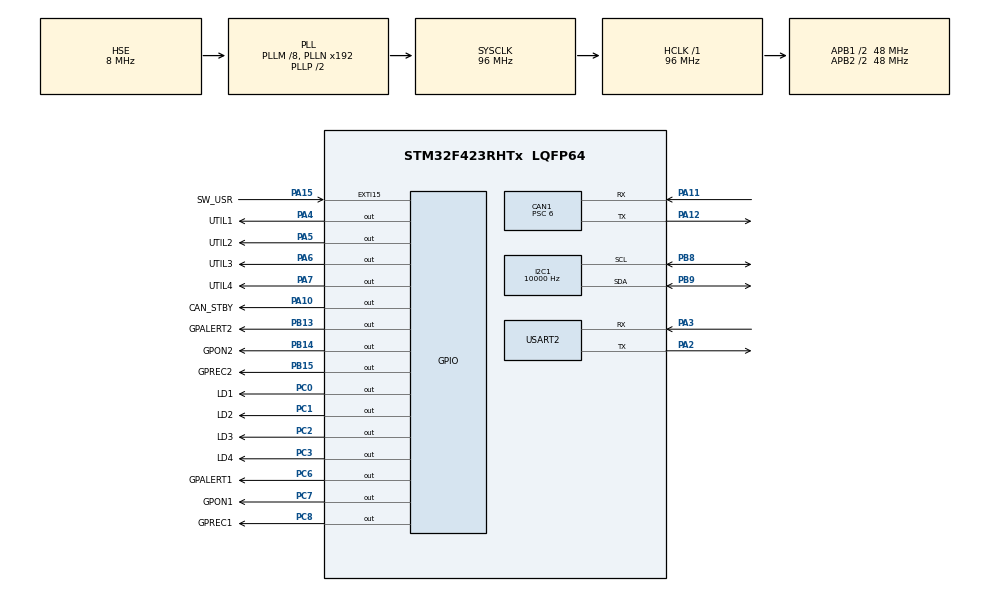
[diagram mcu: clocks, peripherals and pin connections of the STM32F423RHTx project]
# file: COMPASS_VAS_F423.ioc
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Mcu.Family=STM32F4
RCC.CortexFreq_Value=96000000
NVIC.TIM6_DAC_IRQn=true\:0\:0\:false\:false\:true\:true\:true
PA10.GPIO_PuPd=GPIO_PULLDOWN
PB14.GPIO_Label=GPON2
PC0.GPIO_Label=LD1
PC6.GPIO_Label=GPALERT1
PA11.Mode=CAN_Activate
PA6.GPIO_Label=UTIL3
PB13.GPIO_Label=GPALERT2
PB13.Signal=GPIO_Output
PB15.Signal=GPIO_Output
RCC.SYSCLKSource=RCC_SYSCLKSOURCE_PLLCLK
ProjectManager.StackSize=0x400
PA15.GPIO_Label=SW_USR
PA12.Signal=CAN1_TX
PH0\ -\ OSC_IN.Signal=RCC_OSC_IN
I2C1.ClockSpeed=10000
RCC.HCLKFreq_Value=96000000
RCC.APB2TimFreq_Value=96000000
PC7.Signal=GPIO_Output
PC3.Signal=GPIO_Output
RCC.AHBFreq_Value=96000000
RCC.HSE_VALUE=8000000
PB3.Mode=Trace_Asynchronous_SW
PA14.Mode=Trace_Asynchronous_SW
PA10.GPIO_Label=CAN_STBY
TIM6.Period=1000 -1
CAN1.Prescaler=6
Mcu.Package=LQFP64
PB9.Signal=I2C1_SDA
PA6.Signal=GPIO_Output
USART2.VirtualMode=VM_ASYNC
PA10.Signal=GPIO_Output
PA15.Signal=GPXTI15
RCC.APB2CLKDivider=RCC_HCLK_DIV2
RCC.APB1TimFreq_Value=96000000
CAN1.CalculateTimeBit=1000.00
PA4.GPIO_Label=UTIL1
PC2.GPIO_Label=LD3
PA3.Signal=USART2_RX
CAN1.CalculateTimeQuantum=125.0
RCC.PLLSourceVirtual=RCC_PLLSOURCE_HSE
CAN1.CalculateBaudRate=1000000
PH1\ -\ OSC_OUT.Mode=HSE-External-Oscillator
PC8.Signal=GPIO_Output
TIM6.Prescaler=96 -1
PC2.Signal=GPIO_Output
PC6.Signal=GPIO_Output
VP_TIM6_VS_ClockSourceINT.Mode=Enable_Timer
PC0.Signal=GPIO_Output
RCC.APB1CLKDivider=RCC_HCLK_DIV2
PC8.GPIO_Label=GPREC1
PA3.Mode=Asynchronous
PA13.Signal=SYS_JTMS-SWDIO
PH0\ -\ OSC_IN.Mode=HSE-External-Oscillator
CAN1.BS1=CAN_BS1_6TQ
ProjectManager.TargetToolchain=STM32CubeIDE
PB9.Mode=I2C
RCC.USBFreq_Value=96000000
PB14.Signal=GPIO_Output
PA5.Signal=GPIO_Output
PH1\ -\ OSC_OUT.Signal=RCC_OSC_OUT
board=custom
RCC.VCOOutputFreq_Value=192000000
RCC.APB2Freq_Value=48000000
PB15.GPIO_Label=GPREC2
PC1.GPIO_Label=LD2
PA13.Mode=Trace_Asynchronous_SW
Mcu.Name=STM32F423RHTx
PA2.Signal=USART2_TX
PC7.GPIO_Label=GPON1
PB3.Signal=SYS_JTDO-SWO
PA4.Signal=GPIO_Output
RCC.SYSCLKFreq_VALUE=96000000
PA7.GPIO_Label=UTIL4
PA12.Mode=CAN_Activate
PA5.GPIO_Label=UTIL2
PA11.Signal=CAN1_RX
PA14.Signal=SYS_JTCK-SWCLK
ProjectManager.HeapSize=0x200
NVIC.PriorityGroup=NVIC_PRIORITYGROUP_4
RCC.PLLM=8
PB8.Mode=I2C
PA2.Mode=Asynchronous
PB8.Signal=I2C1_SCL
PC3.GPIO_Label=LD4
RCC.APB1Freq_Value=48000000
PC1.Signal=GPIO_Output
NVIC.CAN1_RX0_IRQn=true\:3\:0\:true\:false\:true\:true\:true
PA7.Signal=GPIO_Output

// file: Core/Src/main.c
/* USER CODE BEGIN Header */
/**
 ******************************************************************************
 * @file           : main.c
 * @brief          : Main program body
 ******************************************************************************
 * @attention
 *
 * <h2><center>&copy; Copyright (c) 2021 STMicroelectronics.
 * All rights reserved.</center></h2>
 *
 * This software component is licensed by ST under BSD 3-Clause license,
 * the "License"; You may not use this file except in compliance with the
 * License. You may obtain a copy of the License at:
 *                        opensource.org/licenses/BSD-3-Clause
 *
 ******************************************************************************
 */
/* USER CODE END Header */
#include "main.h"
#include "can.h"
#include "i2c.h"
#include "tim.h"
#include "usart.h"
#include "gpio.h"

/* USER CODE BEGIN Includes */
#include "OSUserInclude.h"
#include "vas.h"
/* USER CODE END Includes */

void SystemClock_Config(void);

/* USER CODE BEGIN 0 */

VAS_PeripheralStruct vas;
/* USER CODE END 0 */

int main(void)
{

  /* MCU Configuration--------------------------------------------------------*/

  /* Reset of all peripherals, Initializes the Flash interface and the Systick. */
  HAL_Init();

  /* Configure the system clock */
  SystemClock_Config();

  /* Initialize all configured peripherals */
  MX_GPIO_Init();
  MX_CAN1_Init();
  MX_I2C1_Init();
  MX_USART2_UART_Init();
  MX_TIM6_Init();
  /* USER CODE BEGIN 2 */
	vas.LD1.pin = LD1_Pin;
	vas.LD1.port = LD1_GPIO_Port;
	vas.LD2.pin = LD2_Pin;
	vas.LD2.port = LD2_GPIO_Port;
	vas.LD3.pin = LD3_Pin;
	vas.LD3.port = LD3_GPIO_Port;
	vas.LD4.pin = LD4_Pin;
	vas.LD4.port = LD4_GPIO_Port;

	vas.bus = &hcan1;
	vas.serialDebug = &huart2;
	vas.htim = &htim6;

	vas.GP1.ina.hi2c = &hi2c1;
	vas.GP1.ina.address = 0b01000000 << 1;
	vas.GP1.on.port = GPON1_GPIO_Port;
	vas.GP1.on.pin = GPON1_Pin;
	vas.GP1.rec.port = GPREC1_GPIO_Port;
	vas.GP1.rec.pin = GPREC1_Pin;
	vas.GP1.alert.port = GPALERT1_GPIO_Port;
	vas.GP1.alert.pin = GPALERT1_Pin;

  /* USER CODE END 2 */

  /* Infinite loop */
  /* USER CODE BEGIN WHILE */
//	if(VAS_isGPOn()){
//		VAS_shutdownGP();
//	}
//	uint8_t test = VAS_isGPOn();
//	VAS_startGP();
//	VAS_startGPRecording();
//	VAS_shutdownGP();
	initMicrocontroller();
	HYOS_start();
	VAS_init(&vas);
	HYOS_start();

	while (1) {
		getTasks()->whileHandle();
    /* USER CODE END WHILE */

	}
}

void SystemClock_Config(void)
{
  RCC_OscInitTypeDef RCC_OscInitStruct = {0};
  RCC_ClkInitTypeDef RCC_ClkInitStruct = {0};

  /** Configure the main internal regulator output voltage
  */
  __HAL_RCC_PWR_CLK_ENABLE();
  __HAL_PWR_VOLTAGESCALING_CONFIG(PWR_REGULATOR_VOLTAGE_SCALE1);
  /** Initializes the RCC Oscillators according to the specified parameters
  * in the RCC_OscInitTypeDef structure.
  */
  RCC_OscInitStruct.OscillatorType = RCC_OSCILLATORTYPE_HSE;
  RCC_OscInitStruct.HSEState = RCC_HSE_ON;
  RCC_OscInitStruct.PLL.PLLState = RCC_PLL_ON;
  RCC_OscInitStruct.PLL.PLLSource = RCC_PLLSOURCE_HSE;
  RCC_OscInitStruct.PLL.PLLM = 8;
  RCC_OscInitStruct.PLL.PLLN = 192;
  RCC_OscInitStruct.PLL.PLLP = RCC_PLLP_DIV2;
  RCC_OscInitStruct.PLL.PLLQ = 2;
  RCC_OscInitStruct.PLL.PLLR = 2;
  if (HAL_RCC_OscConfig(&RCC_OscInitStruct) != HAL_OK)
  {
    Error_Handler();
  }
  /** Initializes the CPU, AHB and APB buses clocks
  */
  RCC_ClkInitStruct.ClockType = RCC_CLOCKTYPE_HCLK|RCC_CLOCKTYPE_SYSCLK
                              |RCC_CLOCKTYPE_PCLK1|RCC_CLOCKTYPE_PCLK2;
  RCC_ClkInitStruct.SYSCLKSource = RCC_SYSCLKSOURCE_PLLCLK;
  RCC_ClkInitStruct.AHBCLKDivider = RCC_SYSCLK_DIV1;
  RCC_ClkInitStruct.APB1CLKDivider = RCC_HCLK_DIV2;
  RCC_ClkInitStruct.APB2CLKDivider = RCC_HCLK_DIV2;

  if (HAL_RCC_ClockConfig(&RCC_ClkInitStruct, FLASH_LATENCY_3) != HAL_OK)
  {
    Error_Handler();
  }
}

/* USER CODE BEGIN 4 */

void HAL_TIM_PeriodElapsedCallback(TIM_HandleTypeDef *htim) {
	VAS_BOARD_tick();
}
/* USER CODE END 4 */

void Error_Handler(void)
{
	__disable_irq();
	while (1) {
	}
}

/************************ (C) COPYRIGHT STMicroelectronics *****END OF FILE****/
